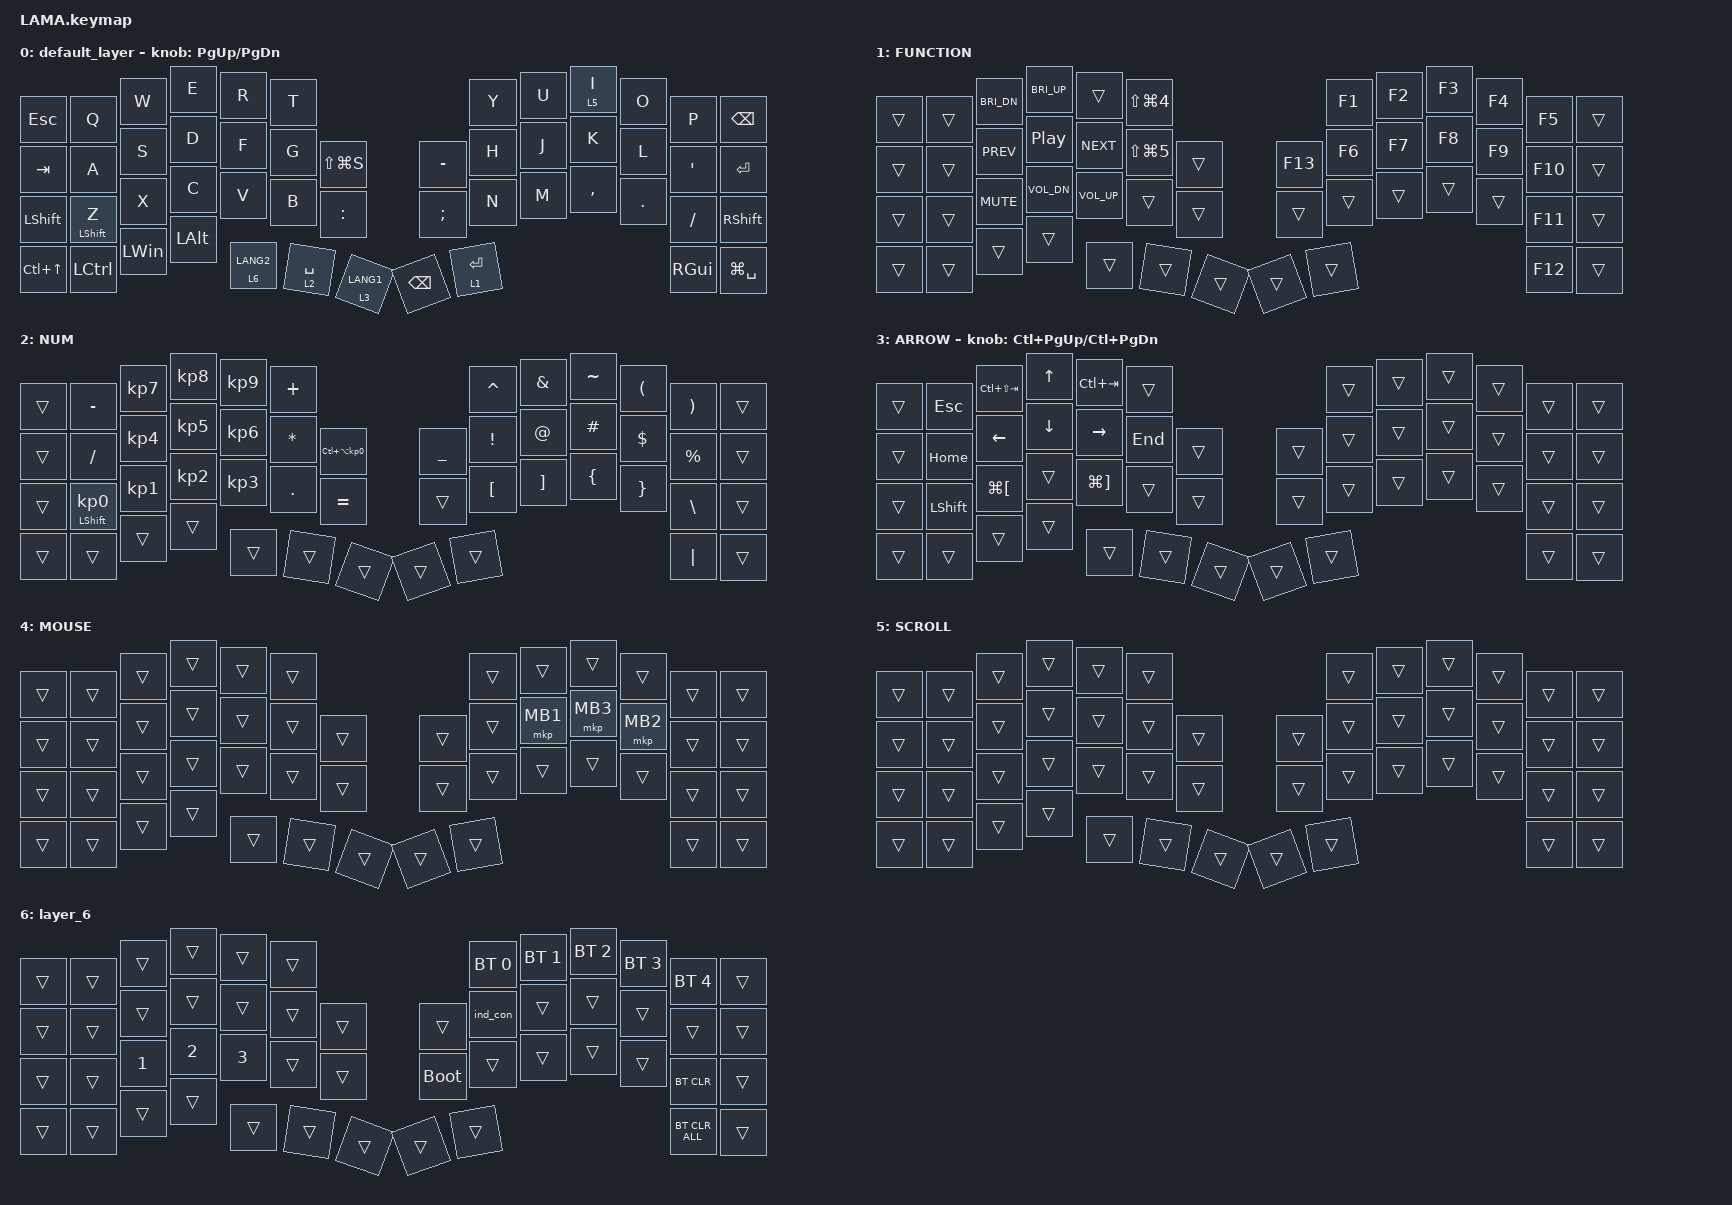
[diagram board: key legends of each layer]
#include <behaviors.dtsi>
#include <behaviors/rgbled_widget.dtsi>
#include <dt-bindings/zmk/bt.h>
#include <dt-bindings/zmk/keys.h>
#include <dt-bindings/zmk/pointing.h>

/* 本家roBaのkeymapをベースに、左右の増設列(小指側、各行の最初と最後)を追加。
   増設列は 左: Esc/Tab/Shift/⌃↑(Mission Control)、
   右: BS/Enter/Shift/⌘Space(Spotlight)。上位レイヤーでは&transで透過させている。
   右手row3のCol4(旧Del)は右⌘(RGUI)。VoiceOSの音声入力のトリガーに設定して使う
   (VoiceOSはF13以降のキーをトリガーにできなかった)。
   combosは増設によりキー位置番号が変わるため、このコミットでは一旦外しています。
   必要であればKeymapEditorで作り直してください。 */

&mt {
    flavor = "balanced";
    quick-tap-ms = <0>;
};

&trackball {
    automouse-layer = <4>;
    scroll-layers = <5>;

    // arrows {
    //     layers = <3>;
    //     bindings =
    //         <&kp RIGHT_ARROW>,
    //         <&kp LEFT_ARROW>,
    //         <&kp UP_ARROW>,
    //         <&kp DOWN_ARROW>;

    //     tick = <10>;
    //     wait-ms = <5>;
    //     tap-ms = <5>;
    // };
};

/ {
    macros {
        to_layer_0: to_layer_0 {
            compatible = "zmk,behavior-macro-one-param";
            #binding-cells = <1>;
            bindings = <&to 0 &macro_param_1to1 &kp MACRO_PLACEHOLDER>;
            label = "TO_LAYER_0";
        };
    };

    behaviors {
        lt_to_layer_0: lt_to_layer_0 {
            compatible = "zmk,behavior-hold-tap";
            label = "LAYER_TAP_TO_0";
            bindings = <&mo>, <&to_layer_0>;

            #binding-cells = <2>;
            tapping-term-ms = <200>;
        };
    };

    keymap {
        compatible = "zmk,keymap";

        default_layer {
            bindings = <
&kp ESCAPE        &kp Q             &kp W         &kp E         &kp R                        &kp T                                                          &kp Y        &kp U  &lt 5 I    &kp O    &kp P    &kp BACKSPACE
&kp TAB           &kp A             &kp S         &kp D         &kp F                        &kp G        &kp LS(LG(S))                      &kp MINUS      &kp H        &kp J  &kp K      &kp L    &kp SQT  &kp ENTER
&kp LSHIFT        &mt LEFT_SHIFT Z  &kp X         &kp C         &kp V                        &kp B        &kp COLON                          &kp SEMICOLON  &kp N        &kp M  &kp COMMA  &kp DOT  &kp SLASH  &kp RSHIFT
&kp LC(UP_ARROW)  &kp LCTRL         &kp LEFT_WIN  &kp LEFT_ALT  &lt_to_layer_0 6 LANG2       &lt 2 SPACE  &lt_to_layer_0 3 LANG1             &kp BACKSPACE  &lt 1 ENTER                             &kp RGUI  &kp LG(SPACE)
            >;

            sensor-bindings = <&inc_dec_kp PG_UP PAGE_DOWN>;
        };

        FUNCTION {
            bindings = <
&trans  &trans  &kp C_BRI_DN  &kp C_BRI_UP  &trans        &kp LS(LG(N4))                                     &kp F1  &kp F2  &kp F3  &kp F4  &kp F5  &trans
&trans  &trans  &kp C_PREV    &kp C_PP      &kp C_NEXT    &kp LS(LG(N5))  &trans                    &kp F13  &kp F6  &kp F7  &kp F8  &kp F9  &kp F10  &trans
&trans  &trans  &kp C_MUTE    &kp C_VOL_DN  &kp C_VOL_UP  &trans  &trans                    &trans   &trans  &trans  &trans  &trans  &kp F11  &trans
&trans  &trans  &trans  &trans  &trans  &trans  &trans      &trans   &trans                          &kp F12  &trans
            >;
        };

        NUM {
            bindings = <
&trans  &kp MINUS                   &kp KP_NUMBER_7  &kp KP_NUMBER_8  &kp KP_NUMBER_9  &kp PLUS                                                   &kp CARET         &kp AMPERSAND      &kp TILDE       &kp LEFT_PARENTHESIS  &kp RIGHT_PARENTHESIS  &trans
&trans  &kp SLASH                   &kp KP_NUMBER_4  &kp KP_NUMBER_5  &kp KP_NUMBER_6  &kp ASTERISK  &kp LC(LA(KP_NUMBER_0))      &kp UNDERSCORE  &kp EXCLAMATION   &kp AT_SIGN        &kp HASH        &kp DOLLAR            &kp PERCENT  &trans
&trans  &mt LEFT_SHIFT KP_NUMBER_0  &kp KP_NUMBER_1  &kp KP_NUMBER_2  &kp KP_NUMBER_3  &kp PERIOD    &kp EQUAL                    &trans          &kp LEFT_BRACKET  &kp RIGHT_BRACKET  &kp LEFT_BRACE  &kp RIGHT_BRACE       &kp BACKSLASH  &trans
&trans  &trans                      &trans           &trans           &trans           &trans        &trans                       &trans          &trans                                                                     &kp PIPE  &trans
            >;
        };

        ARROW {
            bindings = <
&trans  &kp ESCAPE      &kp LC(LS(TAB))         &kp UP_ARROW    &kp LC(TAB)              &trans                       &trans  &trans  &trans  &trans  &trans  &trans
&trans  &kp HOME        &kp LEFT_ARROW          &kp DOWN_ARROW  &kp RIGHT_ARROW          &kp END  &trans      &trans  &trans  &trans  &trans  &trans  &trans  &trans
&trans  &kp LEFT_SHIFT  &kp LG(LBKT)            &trans          &kp LG(RBKT)             &trans   &trans      &trans  &trans  &trans  &trans  &trans  &trans  &trans
&trans  &trans          &trans                  &trans          &trans                   &trans   &trans      &trans  &trans                          &trans  &trans
            >;

            sensor-bindings = <&inc_dec_kp LC(PAGE_UP) LC(PAGE_DOWN)>;
        };

        MOUSE {
            bindings = <
&trans  &trans  &trans  &trans  &trans  &trans                      &trans  &trans    &trans    &trans    &trans  &trans
&trans  &trans  &trans  &trans  &trans  &trans  &trans      &trans  &trans  &mkp MB1  &mkp MB3  &mkp MB2  &trans  &trans
&trans  &trans  &trans  &trans  &trans  &trans  &trans      &trans  &trans  &trans    &trans    &trans    &trans  &trans
&trans  &trans  &trans  &trans  &trans  &trans  &trans      &trans  &trans                                &trans  &trans
            >;
        };

        SCROLL {
            bindings = <
&trans  &trans  &trans  &trans  &trans  &trans                      &trans  &trans  &trans  &trans  &trans  &trans
&trans  &trans  &trans  &trans  &trans  &trans  &trans      &trans  &trans  &trans  &trans  &trans  &trans  &trans
&trans  &trans  &trans  &trans  &trans  &trans  &trans      &trans  &trans  &trans  &trans  &trans  &trans  &trans
&trans  &trans  &trans  &trans  &trans  &trans  &trans      &trans  &trans                          &trans  &trans
            >;
        };

        layer_6 {
            bindings = <
&trans  &trans  &trans        &trans        &trans        &trans                           &bt BT_SEL 0  &bt BT_SEL 1  &bt BT_SEL 2  &bt BT_SEL 3  &bt BT_SEL 4  &trans
&trans  &trans  &trans        &trans        &trans        &trans  &trans      &trans       &ind_con      &trans        &trans        &trans        &trans  &trans
&trans  &trans  &kp NUMBER_1  &kp NUMBER_2  &kp NUMBER_3  &trans  &trans      &bootloader  &trans        &trans        &trans        &trans        &bt BT_CLR  &trans
&trans  &trans  &trans        &trans        &trans        &trans  &trans      &trans       &trans                                                  &bt BT_CLR_ALL  &trans
            >;
        };
    };
};
